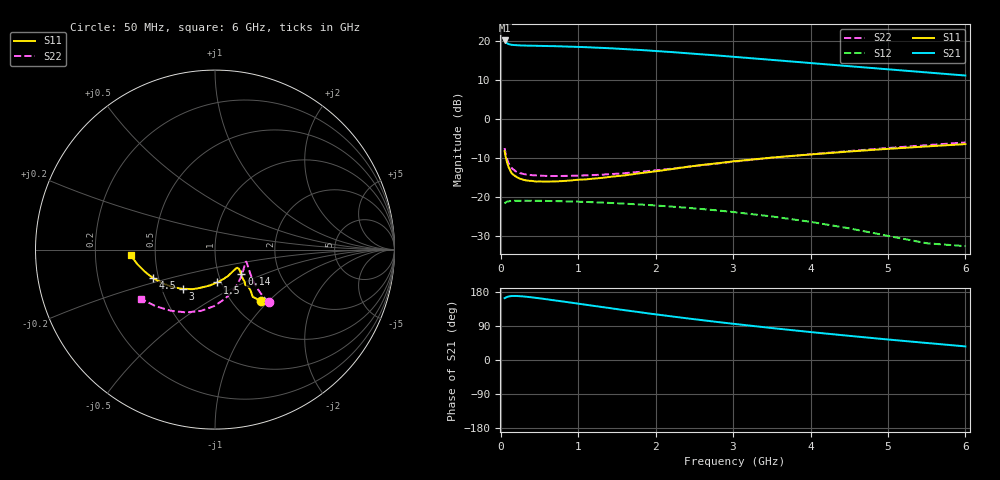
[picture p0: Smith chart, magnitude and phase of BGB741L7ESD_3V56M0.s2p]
! (c) 2009  Infineon Technologies AG, Munich
!  Infineon Technologies AG
!  BGB741L7ESD
!  Vce = 3.5V, Ic = 6.0mA
!  DATUM: 30.06.2009 10:09:16
# GHz  S  MA  R  50
!f  S11  S21  S12  S22
!GHz  Mag  Ang  Mag  Ang  Mag  Ang  Mag  Ang
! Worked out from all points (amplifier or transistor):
!   44 points, 50 MHz to 6 GHz, reference 50 ohm
!   highest |S21| = 20.0 dB at 50 MHz (marker M1)
!   |S21| within 3 dB of that: start of sweep to 2.224 GHz
!   unconditionally stable (mu >= 1): 188.4 MHz to end of sweep
!   at 120 MHz: K = 0.97, MSG = 20.1 dB, |S12| = -21.1 dB
!   at 1 GHz: K = 1.03, MAG = 18.7 dB, |S12| = -21.3 dB
!   at 6 GHz: K = 3.34, MAG = 13.7 dB, |S12| = -32.7 dB
!   lowest NFmin = 1.02 dB at 450 MHz
!   S11 on the Smith chart (normalised r, x): 50 MHz: 1.34, -0.90; 140 MHz: 1.29, -0.37; 1.5 GHz: 0.96, -0.36; 3 GHz: 0.64, -0.30; 4.5 GHz: 0.47, -0.17; 6 GHz: 0.36, -0.03
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0.05  0.3825 -48.2  10.02 163.3  0.08187 22.5  0.4198 -44.6
0.07  0.3057 -49.2  9.409 165.4  0.08521 16.3  0.3356 -43.2
0.08  0.2779 -48.0  9.223 166.2  0.08622 14.1  0.3088 -41.9
0.09  0.2598 -49.4  9.155 167.0  0.08692 12.4  0.2879 -40.5
0.1  0.2403 -47.0  9.011 167.4  0.08725 11.1  0.272 -38.9
0.11  0.2301 -46.8  8.957 167.9  0.08767 9.8  0.259 -37.5
0.14  0.2006 -42.9  8.817 168.7  0.08825 7.2  0.2336 -33.6
0.2  0.18 -40.2  8.715 168.9  0.08879 4.1  0.2099 -28.2
0.35  0.1604 -38.9  8.605 166.6  0.08894 -0.2  0.1911 -22.2
0.7  0.157 -51.7  8.466 157.2  0.08798 -5.6  0.1841 -22.5
1.1  0.1667 -69.6  8.218 145.8  0.08575 -10.3  0.1874 -28.6
1.5  0.1837 -86.0  7.877 134.3  0.08255 -14.6  0.1971 -37.6
1.9  0.2055 -100.6  7.462 123.1  0.07849 -18.5  0.2133 -48.3
2.2  0.2252 -110.0  7.124 115.3  0.07483 -21.1  0.2284 -56.8
2.6  0.2555 -120.3  6.65 105.2  0.06958 -24.3  0.2533 -68.1
3  0.2837 -129.3  6.198 95.6  0.06377 -26.9  0.2802 -78.9
3.5  0.317 -139.0  5.652 84.3  0.05595 -29.3  0.3159 -91.3
4  0.3477 -147.5  5.15 73.8  0.04772 -30.4  0.3501 -102.9
4.5  0.3792 -155.1  4.693 63.7  0.0394 -29.0  0.3845 -114.5
5  0.4102 -162.6  4.282 54.1  0.03152 -23.4  0.4204 -125.8
5.5  0.4407 -169.5  3.906 44.9  0.02539 -10.6  0.4574 -136.5
6  0.4717 -176.1  3.563 35.9  0.02329 9.9  0.4957 -146.5
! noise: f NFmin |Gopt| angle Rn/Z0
0.45  1.02  0.04  44  0.14
0.9  1.03  0.07  73  0.16
1.8  1.06  0.09  84  0.2
2.4  1.11  0.11  92  0.26
3  1.18  0.14  132  0.22
5.5  1.82  0.18  160  0.17
